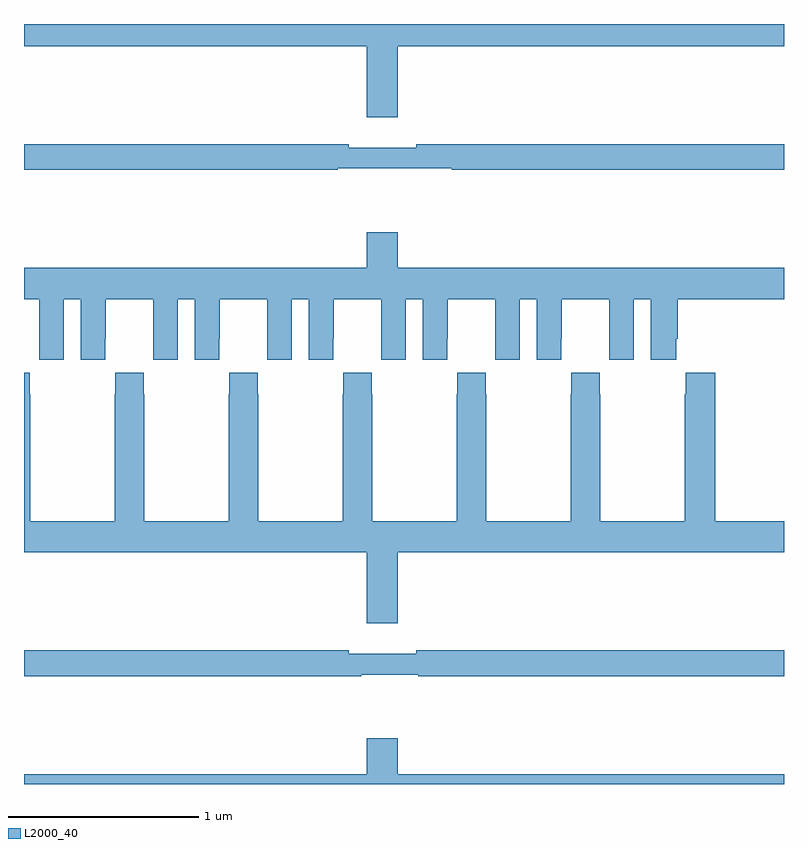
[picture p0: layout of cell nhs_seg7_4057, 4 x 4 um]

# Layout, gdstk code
import gdstk
lib = gdstk.Library(unit=1e-6, precision=1e-09)
def P(c, l, *ps):  # polygons
    for p in ps: c.add(gdstk.Polygon(p, *l))
L2000_40 = (2000, 40)

nhs_seg7_4057 = lib.new_cell('nhs_seg7_4057')
P(nhs_seg7_4057, L2000_40, [(368.968,1065.884),(371,1065.884),(371,1066),(367,1066),(367,1065.884),(368.804,1065.884),(368.804,1065.51),(368.968,1065.51)],
  [(368.65,1065.24),(369.25,1065.24),(369.25,1065.232),(371,1065.232),(371,1065.368),(369.064,1065.368),(369.064,1065.349),(368.708,1065.349),(368.708,1065.368),(367,1065.368),(367,1065.232),(368.65,1065.232)],
  [(367.21,1064.552),(367.298,1064.552),(367.298,1064.232),(367.428,1064.232),(367.428,1064.344),(367.429,1064.344),(367.429,1064.552),(367.679,1064.552),(367.679,1064.344),(367.68,1064.344),(367.68,1064.232),(367.81,1064.232),(367.81,1064.552),(367.898,1064.552),(367.898,1064.232),(368.028,1064.232),(368.028,1064.344),(368.029,1064.344),(368.029,1064.552),(368.279,1064.552),(368.279,1064.344),(368.28,1064.344),(368.28,1064.232),(368.41,1064.232),(368.41,1064.552),(368.498,1064.552),(368.498,1064.232),(368.628,1064.232),(368.628,1064.344),(368.629,1064.344),(368.629,1064.552),(368.879,1064.552),(368.879,1064.344),(368.88,1064.344),(368.88,1064.232),(369.01,1064.232),(369.01,1064.552),(369.098,1064.552),(369.098,1064.232),(369.228,1064.232),(369.228,1064.344),(369.229,1064.344),(369.229,1064.552),(369.479,1064.552),(369.479,1064.344),(369.48,1064.344),(369.48,1064.232),(369.61,1064.232),(369.61,1064.552),(369.698,1064.552),(369.698,1064.232),(369.828,1064.232),(369.828,1064.344),(369.829,1064.344),(369.829,1064.552),(370.079,1064.552),(370.079,1064.344),(370.08,1064.344),(370.08,1064.232),(370.21,1064.232),(370.21,1064.552),(370.298,1064.552),(370.298,1064.232),(370.432,1064.232),(370.432,1064.344),(370.442,1064.344),(370.442,1064.552),(371,1064.552),(371,1064.716),(368.968,1064.716),(368.968,1064.905),(368.804,1064.905),(368.804,1064.716),(367,1064.716),(367,1064.552),(367.079,1064.552),(367.079,1064.344),(367.08,1064.344),(367.08,1064.232),(367.21,1064.232)],
  [(368.229,1064.051),(368.229,1064.164),(368.079,1064.164),(368.079,1064.051),(368.077,1064.051),(368.077,1063.384),(367.632,1063.384),(367.632,1064.051),(367.629,1064.051),(367.629,1064.164),(367.479,1064.164),(367.479,1064.051),(367.477,1064.051),(367.477,1063.384),(367.032,1063.384),(367.032,1064.051),(367.029,1064.051),(367.029,1064.164),(367,1064.164),(367,1063.22),(368.804,1063.22),(368.804,1062.846),(368.968,1062.846),(368.968,1063.22),(371,1063.22),(371,1063.384),(370.637,1063.384),(370.637,1064.164),(370.483,1064.164),(370.483,1064.051),(370.477,1064.051),(370.477,1063.384),(370.032,1063.384),(370.032,1064.051),(370.029,1064.051),(370.029,1064.164),(369.879,1064.164),(369.879,1064.051),(369.877,1064.051),(369.877,1063.384),(369.432,1063.384),(369.432,1064.051),(369.429,1064.051),(369.429,1064.164),(369.279,1064.164),(369.279,1064.051),(369.277,1064.051),(369.277,1063.384),(368.832,1063.384),(368.832,1064.051),(368.829,1064.051),(368.829,1064.164),(368.679,1064.164),(368.679,1064.051),(368.677,1064.051),(368.677,1063.384),(368.232,1063.384),(368.232,1064.051)],
  [(368.776,1062.576),(369.076,1062.576),(369.076,1062.568),(371,1062.568),(371,1062.704),(369.064,1062.704),(369.064,1062.685),(368.708,1062.685),(368.708,1062.704),(367,1062.704),(367,1062.568),(368.776,1062.568)],
  [(371,1062.052),(368.968,1062.052),(368.968,1062.241),(368.804,1062.241),(368.804,1062.052),(367,1062.052),(367,1062),(371,1062)])

lib.write_gds('nhs_seg7_4057.gds')
